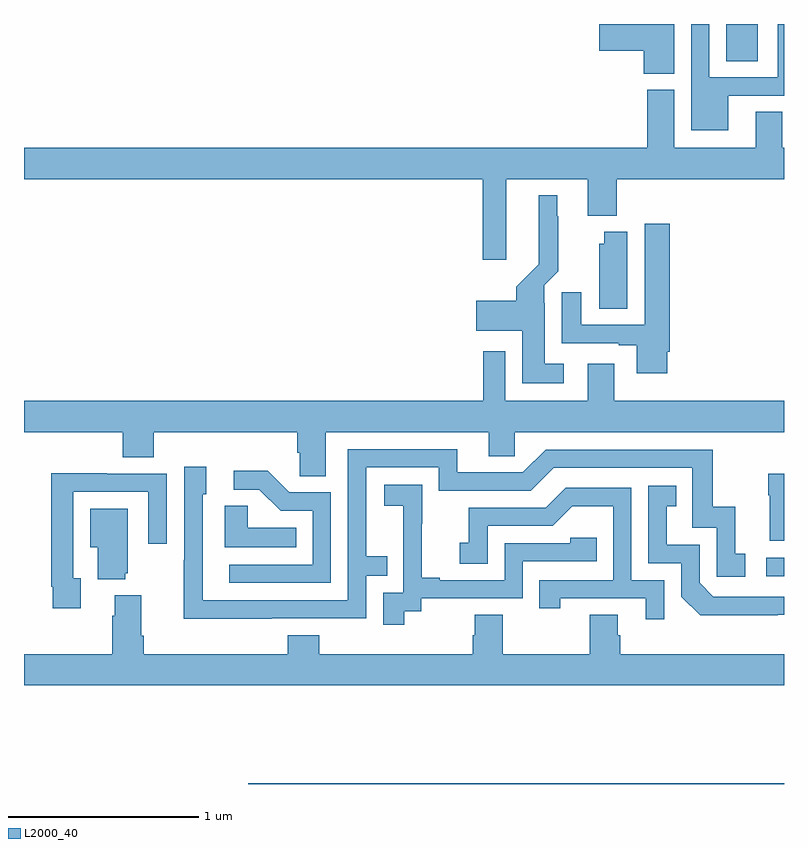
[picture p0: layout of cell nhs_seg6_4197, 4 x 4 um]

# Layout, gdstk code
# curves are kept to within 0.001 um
import gdstk
lib = gdstk.Library(unit=1e-6, precision=1e-09)
def R(c, l, rs):  # rectangles x0, y0, x1, y1
    for r in rs: c.add(gdstk.rectangle(r[:2], r[2:], *l))
def P(c, l, *ps):  # polygons
    for p in ps: c.add(gdstk.Polygon(p, *l))
L2000_40 = (2000, 40)

nhs_seg6_4197 = lib.new_cell('nhs_seg6_4197')
R(nhs_seg6_4197, L2000_40, [(360.179,929.5,363,929.504), (362.907,930.594,363,930.69), (362.696,933.304,362.863,933.5)])
P(nhs_seg6_4197, L2000_40, [(362.422,933.5),(362.028,933.5),(362.028,933.359),(362.261,933.359),(362.261,933.238),(362.422,933.238)],
  [(362.707,933.123),(363,933.123),(363,933.5),(362.967,933.5),(362.967,933.219),(362.607,933.219),(362.607,933.5),(362.511,933.5),(362.511,932.942),(362.707,932.942)],
  [(361.537,932.684),(361.967,932.684),(361.967,932.492),(362.12,932.492),(362.12,932.684),(363,932.684),(363,932.848),(362.992,932.848),(362.992,933.038),(362.852,933.038),(362.852,932.848),(362.422,932.848),(362.422,933.153),(362.279,933.153),(362.279,932.848),(359,932.848),(359,932.684),(361.415,932.684),(361.415,932.259),(361.537,932.259)],
  [(361.84,931.711),(361.741,931.711),(361.741,932.03),(361.737,932.03),(361.737,932.124),(361.811,932.198),(361.811,932.489),(361.807,932.489),(361.807,932.599),(361.709,932.599),(361.71,932.236),(361.592,932.118),(361.592,932.044),(361.38,932.044),(361.38,931.886),(361.622,931.886),(361.622,931.61),(361.84,931.61)],
  [(362.386,931.774),(362.399,931.774),(362.399,932.449),(362.267,932.449),(362.267,931.917),(361.933,931.917),(361.933,932.089),(361.829,932.089),(361.829,931.821),(362.129,931.821),(362.129,931.809),(362.225,931.809),(362.225,931.662),(362.386,931.662)],
  [(362.176,932.407),(362.054,932.407),(362.054,932.343),(362.027,932.343),(362.027,932.002),(362.176,932.002)],
  [(360.589,931.352),(361.445,931.352),(361.445,931.225),(361.584,931.225),(361.584,931.352),(363,931.352),(363,931.516),(362.107,931.516),(362.107,931.711),(361.967,931.711),(361.967,931.516),(361.533,931.516),(361.533,931.777),(361.417,931.777),(361.417,931.516),(359,931.516),(359,931.352),(359.519,931.352),(359.519,931.219),(359.684,931.219),(359.684,931.352),(360.437,931.352),(360.437,931.243),(360.45,931.243),(360.45,931.12),(360.589,931.12)],
  [(360.305,930.372),(360.801,930.372),(360.801,930.597),(360.911,930.597),(360.911,930.698),(360.801,930.698),(360.801,931.167),(361.182,931.167),(361.182,931.044),(361.668,931.044),(361.788,931.164),(362.517,931.164),(362.517,930.849),(362.646,930.849),(362.646,930.591),(362.797,930.591),(362.797,930.711),(362.744,930.711),(362.744,930.958),(362.626,930.958),(362.626,931.26),(361.746,931.26),(361.626,931.14),(361.279,931.14),(361.279,931.263),(360.705,931.263),(360.705,930.468),(359.94,930.468),(359.94,931.026),(359.959,931.026),(359.959,931.171),(359.844,931.171),(359.844,930.677),(359.842,930.677),(359.842,930.371)],
  [(360.615,931.035),(360.396,931.035),(360.283,931.148),(360.105,931.148),(360.105,931.05),(360.239,931.05),(360.35,930.939),(360.519,930.939),(360.519,930.654),(360.081,930.654),(360.081,930.558),(360.615,930.558)],
  [(359.299,930.582),(359.259,930.582),(359.259,931.038),(359.655,931.038),(359.655,930.765),(359.751,930.765),(359.751,931.134),(359.435,931.134),(359.435,931.136),(359.143,931.136),(359.143,930.538),(359.151,930.538),(359.151,930.426),(359.299,930.426)],
  [(363,931.132),(362.917,931.132),(362.917,931.019),(362.924,931.019),(362.924,930.779),(363,930.779)],
  [(361,930.409),(361.092,930.409),(361.092,930.477),(361.626,930.477),(361.626,930.672),(362.015,930.672),(362.015,930.795),(361.875,930.795),(361.875,930.768),(361.53,930.768),(361.53,930.573),(361.189,930.573),(361.189,930.586),(361.094,930.586),(361.094,930.869),(361.095,930.869),(361.095,931.075),(360.897,931.075),(360.897,930.965),(360.995,930.965),(360.995,930.737),(360.996,930.737),(360.996,930.507),(360.891,930.507),(360.891,930.339),(361,930.339)],
  [(362.966,930.39),(363,930.39),(363,930.486),(362.628,930.486),(362.556,930.558),(362.556,930.759),(362.383,930.759),(362.383,930.963),(362.432,930.963),(362.432,931.069),(362.286,931.069),(362.286,930.663),(362.46,930.663),(362.46,930.486),(362.558,930.389)],
  [(362.37,930.573),(362.196,930.573),(362.196,931.059),(361.85,931.059),(361.745,930.954),(361.342,930.954),(361.342,930.769),(361.293,930.769),(361.293,930.66),(361.44,930.66),(361.44,930.858),(361.782,930.858),(361.886,930.962),(362.1,930.962),(362.1,930.573),(361.711,930.573),(361.711,930.426),(361.822,930.426),(361.822,930.477),(362.273,930.477),(362.273,930.366),(362.37,930.366)],
  [(360.434,930.85),(360.177,930.85),(360.177,930.965),(360.056,930.965),(360.056,930.746),(360.434,930.746)],
  [(359.534,930.609),(359.545,930.609),(359.545,930.949),(359.348,930.949),(359.348,930.746),(359.387,930.746),(359.387,930.578),(359.534,930.578)],
  [(363,930.184),(362.138,930.184),(362.138,930.282),(362.125,930.282),(362.125,930.392),(361.978,930.392),(361.978,930.184),(361.521,930.184),(361.521,930.392),(361.373,930.392),(361.373,930.282),(361.361,930.282),(361.361,930.184),(360.554,930.184),(360.554,930.283),(360.389,930.283),(360.389,930.184),(359.63,930.184),(359.63,930.28),(359.617,930.28),(359.617,930.493),(359.477,930.493),(359.477,930.386),(359.465,930.386),(359.465,930.184),(359,930.184),(359,930.02),(363,930.02)])

lib.write_gds('nhs_seg6_4197.gds')
